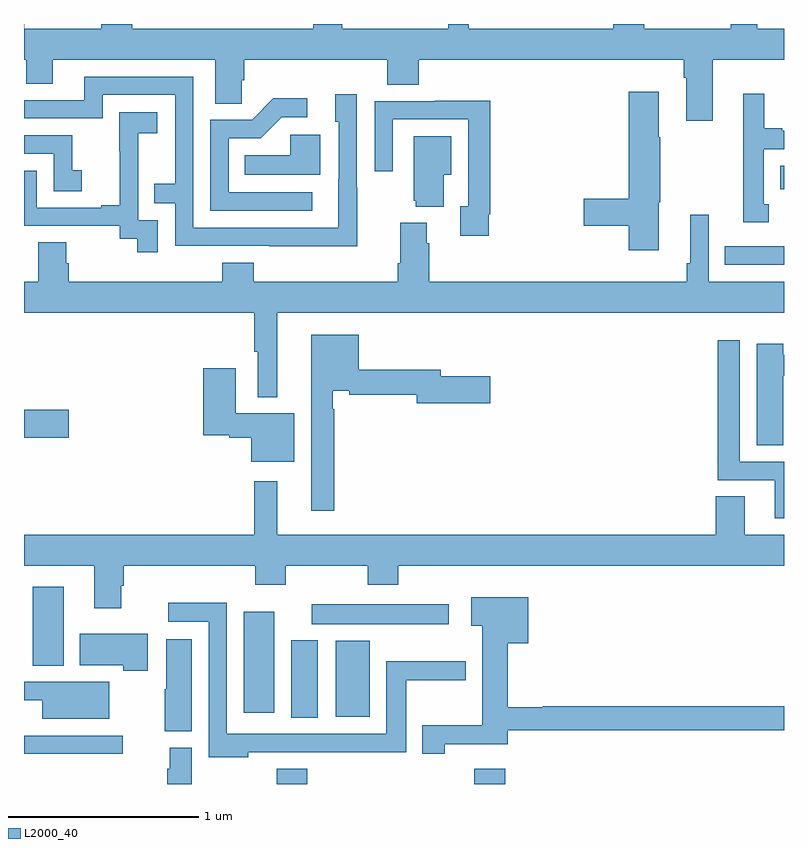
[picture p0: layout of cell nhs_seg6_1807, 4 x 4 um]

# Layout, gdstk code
import gdstk
lib = gdstk.Library(unit=1e-6, precision=1e-09)
def R(c, l, rs):  # rectangles x0, y0, x1, y1
    for r in rs: c.add(gdstk.rectangle(r[:2], r[2:], *l))
def P(c, l, *ps):  # polygons
    for p in ps: c.add(gdstk.Polygon(p, *l))
L2000_40 = (2000, 40)

nhs_seg6_1807 = lib.new_cell('nhs_seg6_1807')
R(nhs_seg6_1807, L2000_40, [(220.33,967.5,220.49,967.579), (221.369,967.5,221.534,967.579), (219,967.658,219.52,967.755), (220.406,967.849,220.546,968.257), (220.64,967.853,220.819,968.254), (220.157,967.875,220.318,968.407), (219.047,968.123,219.208,968.539), (220.515,968.342,221.236,968.446), (219,969.323,219.235,969.47), (222.688,970.233,223,970.329), (222.979,970.631,223,970.753)])
P(nhs_seg6_1807, L2000_40, [(222.625,971.312),(223,971.312),(223,971.476),(222.859,971.476),(222.859,971.5),(222.719,971.5),(222.719,971.476),(222.265,971.476),(222.265,971.5),(222.101,971.5),(222.101,971.476),(221.341,971.476),(221.341,971.5),(221.232,971.5),(221.232,971.476),(220.675,971.476),(220.675,971.5),(220.523,971.5),(220.523,971.476),(219.571,971.476),(219.571,971.5),(219.407,971.5),(219.407,971.476),(219.001,971.476),(219.001,971.5),(219,971.5),(219,971.312),(219.012,971.312),(219.012,971.185),(219.151,971.185),(219.151,971.312),(220.007,971.312),(220.007,971.08),(220.146,971.08),(220.146,971.203),(220.16,971.203),(220.16,971.312),(220.913,971.312),(220.913,971.179),(221.078,971.179),(221.078,971.312),(222.473,971.312),(222.473,971.216),(222.485,971.216),(222.485,970.992),(222.625,970.992)],
  [(220.755,970.637),(220.752,970.637),(220.752,971.131),(220.637,971.131),(220.637,970.986),(220.656,970.986),(220.656,970.682),(220.655,970.682),(220.655,970.428),(219.891,970.428),(219.891,971.223),(219.317,971.223),(219.317,971.1),(219,971.1),(219,971.004),(219.414,971.004),(219.414,971.127),(219.795,971.127),(219.795,970.658),(219.685,970.658),(219.685,970.557),(219.795,970.557),(219.795,970.332),(220.291,970.332),(220.291,970.331),(220.755,970.331)],
  [(222.34,970.563),(222.348,970.563),(222.348,970.904),(222.34,970.904),(222.34,971.143),(222.182,971.143),(222.182,970.58),(221.946,970.58),(221.946,970.438),(222.182,970.438),(222.182,970.308),(222.34,970.308)],
  [(222.919,970.551),(222.894,970.551),(222.894,970.842),(223,970.842),(223,970.938),(222.991,970.938),(222.991,970.951),(222.895,970.951),(222.895,971.134),(222.785,971.134),(222.785,970.889),(222.786,970.889),(222.786,970.457),(222.919,970.457)],
  [(220.516,970.614),(220.077,970.614),(220.077,970.899),(220.246,970.899),(220.357,971.01),(220.492,971.01),(220.492,971.108),(220.313,971.108),(220.2,970.995),(219.981,970.995),(219.981,970.518),(220.516,970.518)],
  [(221.446,970.498),(221.453,970.498),(221.453,971.096),(221.161,971.096),(221.161,971.094),(220.845,971.094),(220.845,970.725),(220.941,970.725),(220.941,970.998),(221.337,970.998),(221.337,970.542),(221.297,970.542),(221.297,970.386),(221.446,970.386)],
  [(219.705,970.467),(219.6,970.467),(219.6,970.697),(219.602,970.697),(219.602,970.925),(219.7,970.925),(219.7,971.035),(219.502,971.035),(219.502,970.829),(219.503,970.829),(219.503,970.546),(219.407,970.546),(219.407,970.533),(219.066,970.533),(219.066,970.728),(219,970.728),(219,970.437),(219.504,970.437),(219.504,970.369),(219.597,970.369),(219.597,970.299),(219.705,970.299)],
  [(220.558,970.918),(220.401,970.918),(220.401,970.81),(220.162,970.81),(220.162,970.706),(220.558,970.706)],
  [(219.304,970.729),(219.255,970.729),(219.255,970.914),(219,970.914),(219,970.818),(219.156,970.818),(219.156,970.62),(219.304,970.62)],
  [(221.209,970.706),(221.248,970.706),(221.248,970.909),(221.051,970.909),(221.051,970.569),(221.063,970.569),(221.063,970.538),(221.209,970.538)],
  [(220.043,970.243),(220.043,970.144),(219.236,970.144),(219.236,970.242),(219.223,970.242),(219.223,970.352),(219.076,970.352),(219.076,970.144),(219,970.144),(219,969.98),(220.212,969.98),(220.212,969.775),(220.229,969.775),(220.229,969.536),(220.333,969.536),(220.333,969.98),(223,969.98),(223,970.144),(222.603,970.144),(222.603,970.495),(222.506,970.495),(222.506,970.24),(222.487,970.24),(222.487,970.144),(221.132,970.144),(221.132,970.346),(221.119,970.346),(221.119,970.453),(220.979,970.453),(220.979,970.24),(220.967,970.24),(220.967,970.144),(220.208,970.144),(220.208,970.243)],
  [(220.633,969.473),(220.625,969.473),(220.625,969.57),(220.711,969.57),(220.711,969.55),(221.066,969.55),(221.066,969.503),(221.455,969.503),(221.455,969.645),(221.194,969.645),(221.194,969.679),(220.762,969.679),(220.762,969.865),(220.511,969.865),(220.511,968.937),(220.633,968.937)],
  [(223,969.195),(222.768,969.195),(222.768,969.835),(222.652,969.835),(222.652,969.099),(222.95,969.099),(222.95,968.898),(223,968.898)],
  [(222.997,969.648),(223,969.648),(223,969.759),(222.995,969.759),(222.995,969.817),(222.857,969.817),(222.857,969.282),(222.997,969.282)],
  [(220.423,969.451),(220.114,969.451),(220.114,969.688),(219.944,969.688),(219.944,969.335),(220.08,969.335),(220.08,969.323),(220.196,969.323),(220.196,969.197),(220.423,969.197)],
  [(219.511,968.544),(219.524,968.544),(219.524,968.648),(220.217,968.648),(220.217,968.549),(220.377,968.549),(220.377,968.648),(220.81,968.648),(220.81,968.549),(220.97,968.549),(220.97,968.648),(223,968.648),(223,968.812),(222.793,968.812),(222.793,969.014),(222.641,969.014),(222.641,968.812),(220.333,968.812),(220.333,969.094),(220.212,969.094),(220.212,968.812),(219,968.812),(219,968.648),(219.371,968.648),(219.371,968.424),(219.511,968.424)],
  [(221.214,967.709),(221.546,967.709),(221.546,967.782),(223,967.782),(223,967.91),(221.729,967.91),(221.729,967.903),(221.546,967.903),(221.546,968.24),(221.653,968.24),(221.653,968.482),(221.355,968.482),(221.355,968.333),(221.411,968.333),(221.411,967.809),(221.096,967.809),(221.096,967.659),(221.214,967.659)],
  [(220.179,967.668),(220.573,967.668),(220.573,967.667),(221.011,967.667),(221.011,968.047),(221.326,968.047),(221.326,968.147),(220.907,968.147),(220.907,967.764),(220.068,967.764),(220.068,968.453),(219.759,968.453),(219.759,968.355),(219.972,968.355),(219.972,967.64),(220.179,967.64)],
  [(219.652,968.29),(219.293,968.29),(219.293,968.126),(219.523,968.126),(219.523,968.096),(219.652,968.096)],
  [(219.883,968.263),(219.749,968.263),(219.749,968),(219.742,968),(219.742,967.777),(219.883,967.777)],
  [(219.448,968.038),(219.204,968.038),(219.204,968.037),(219,968.037),(219,967.941),(219.095,967.941),(219.095,967.844),(219.448,967.844)],
  [(219.883,967.692),(219.767,967.692),(219.767,967.581),(219.755,967.581),(219.755,967.5),(219.883,967.5)])

lib.write_gds('nhs_seg6_1807.gds')
